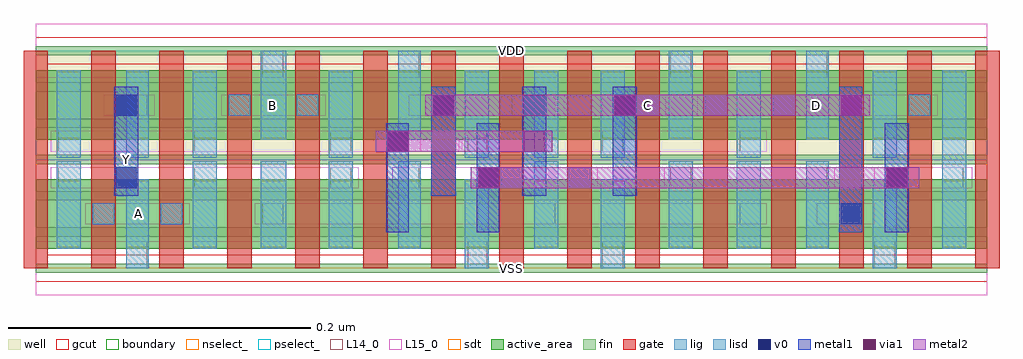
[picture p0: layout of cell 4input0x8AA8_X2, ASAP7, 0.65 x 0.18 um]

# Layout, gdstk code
import gdstk
lib = gdstk.Library(unit=1e-6, precision=1e-09)
def R(c, l, rs):  # rectangles x0, y0, x1, y1
    for r in rs: c.add(gdstk.rectangle(r[:2], r[2:], *l))
def A(c, l, x, y, w, h, nx, ny, dx, dy):  # array of equal rectangles
    R(c, l, [(x+i*dx, y+j*dy, x+i*dx+w, y+j*dy+h) for i in range(nx) for j in range(ny)])
def P(c, l, *ps):  # polygons
    for p in ps: c.add(gdstk.Polygon(p, *l))
well = (1, 0)
fin = (2, 0)
gate = (7, 0)
gcut = (10, 0)
active_area = (11, 0)
nselect_ = (12, 0)
pselect_ = (13, 0)
L14_0 = (14, 0)
L15_0 = (15, 0)
lig = (16, 0)
lisd = (17, 0)
v0 = (18, 0)
metal1 = (19, 0)
metal2 = (20, 0)
via1 = (21, 0)
sdt = (88, 0)
boundary = (100, 0)

c_4input0x8aa8_x2 = lib.new_cell('4input0x8AA8_X2')
R(c_4input0x8aa8_x2, well, [(0,0.072,0.63,0.144)])
A(c_4input0x8aa8_x2, fin, 0, -0.003, 0.63, 0.006, 1, 7, 0, 0.024)
A(c_4input0x8aa8_x2, gate, -0.008, 0, 0.016, 0.144, 15, 1, 0.045, 0)
P(c_4input0x8aa8_x2, gcut, [(0,-0.009),(0,0),(-0.008,0),(-0.008,0.135),(0.008,0.135),(0.008,0.009),(0.217,0.009),(0.217,0.135),(0.233,0.135),(0.233,0.009),(0.622,0.009),(0.622,0.135),(-0.008,0.135),(-0.008,0.144),(0,0.144),(0,0.153),(0.63,0.153),(0.63,0.144),(0.638,0.144),(0.638,0),(0.63,0),(0.63,-0.009)])
R(c_4input0x8aa8_x2, active_area, [(0,0.013,0.63,0.059), (0,0.085,0.63,0.131)])
R(c_4input0x8aa8_x2, nselect_, [(0,0,0.63,0.072)])
R(c_4input0x8aa8_x2, pselect_, [(0,0.072,0.63,0.144)])
A(c_4input0x8aa8_x2, L14_0, 0.42, 0.053, 0.014, 0.014, 3, 1, 0.09, 0)
A(c_4input0x8aa8_x2, L14_0, 0.398, 0.101, 0.014, 0.014, 3, 1, 0.045, 0)
R(c_4input0x8aa8_x2, L14_0, [(0.06,0,0.074,0.018), (0.286,0,0.299,0.018), (0.375,0,0.389,0.018), (0.555,0,0.569,0.018), (0.038,0.029,0.052,0.043), (0.083,0.029,0.097,0.043), (0.15,0.029,0.164,0.043), (0.33,0.029,0.344,0.043), (0.466,0.029,0.48,0.043), (0.533,0.029,0.547,0.043), (0.015,0.053,0.03,0.067), (0.105,0.053,0.12,0.067), (0.195,0.053,0.209,0.067), (0.24,0.053,0.254,0.067), (0.308,0.053,0.322,0.067), (0.353,0.053,0.367,0.067), (0.015,0.077,0.03,0.091), (0.105,0.077,0.12,0.091), (0.195,0.077,0.209,0.091), (0.286,0.077,0.299,0.091), (0.375,0.077,0.389,0.091), (0.466,0.077,0.48,0.091), (0.06,0.101,0.074,0.115), (0.128,0.101,0.142,0.115), (0.173,0.101,0.187,0.115), (0.263,0.101,0.277,0.115), (0.33,0.101,0.344,0.115), (0.578,0.101,0.592,0.115), (0.15,0.126,0.164,0.144), (0.24,0.126,0.254,0.144), (0.42,0.126,0.434,0.144), (0.51,0.126,0.524,0.144)])
R(c_4input0x8aa8_x2, L15_0, [(0,-0.018,0.63,0.018), (0.033,0.029,0.102,0.043), (0.145,0.029,0.484,0.043), (0.517,0.029,0.555,0.043), (0.01,0.053,0.214,0.067), (0.236,0.053,0.372,0.067), (0.416,0.053,0.529,0.067), (0.555,0.053,0.62,0.067), (0.01,0.077,0.255,0.091), (0.28,0.077,0.484,0.091), (0.045,0.101,0.079,0.115), (0.123,0.101,0.192,0.115), (0.247,0.101,0.285,0.115), (0.315,0.101,0.35,0.115), (0.375,0.101,0.417,0.115), (0.438,0.101,0.597,0.115), (0,0.126,0.63,0.162)])
A(c_4input0x8aa8_x2, lig, 0.398, 0.101, 0.014, 0.014, 3, 1, 0.045, 0)
R(c_4input0x8aa8_x2, lig, [(0.038,0.029,0.052,0.043), (0.083,0.029,0.097,0.043), (0.533,0.029,0.547,0.043), (0.308,0.053,0.322,0.067), (0.353,0.053,0.367,0.067), (0.128,0.101,0.142,0.115), (0.173,0.101,0.187,0.115), (0.263,0.101,0.277,0.115), (0.578,0.101,0.592,0.115)])
A(c_4input0x8aa8_x2, lisd, 0.014, 0.013, 0.016, 0.058, 3, 1, 0.09, 0)
A(c_4input0x8aa8_x2, lisd, 0.014, 0.073, 0.016, 0.058, 4, 1, 0.09, 0)
A(c_4input0x8aa8_x2, lisd, 0.374, 0.073, 0.016, 0.058, 3, 1, 0.09, 0)
R(c_4input0x8aa8_x2, lisd, [(0.06,0,0.075,0.059), (0.284,0,0.3,0.059), (0.374,0,0.39,0.059), (0.554,0,0.57,0.059), (0.149,0.013,0.166,0.071), (0.24,0.013,0.255,0.071), (0.33,0.013,0.346,0.071), (0.419,0.013,0.435,0.071), (0.464,0.013,0.48,0.071), (0.51,0.013,0.525,0.071), (0.6,0.013,0.616,0.131), (0.06,0.073,0.075,0.131), (0.33,0.073,0.346,0.131), (0.149,0.085,0.166,0.144), (0.24,0.085,0.255,0.144), (0.419,0.085,0.435,0.144), (0.51,0.085,0.525,0.144)])
A(c_4input0x8aa8_x2, v0, 0.263, 0.101, 0.014, 0.014, 3, 1, 0.06, 0)
R(c_4input0x8aa8_x2, v0, [(0.533,0.029,0.547,0.043), (0.053,0.053,0.067,0.067), (0.293,0.053,0.307,0.067), (0.563,0.053,0.577,0.067), (0.233,0.077,0.247,0.091), (0.053,0.101,0.067,0.115)])
A(c_4input0x8aa8_x2, metal1, 0.262, 0.048, 0.016, 0.072, 3, 1, 0.06, 0)
R(c_4input0x8aa8_x2, metal1, [(0.232,0.024,0.247,0.096), (0.292,0.024,0.307,0.096), (0.532,0.024,0.547,0.12), (0.562,0.024,0.578,0.096), (0.052,0.048,0.068,0.12)])
R(c_4input0x8aa8_x2, metal2, [(0.288,0.053,0.585,0.067), (0.225,0.077,0.342,0.091), (0.258,0.101,0.552,0.115)])
R(c_4input0x8aa8_x2, via1, [(0.293,0.053,0.307,0.067), (0.563,0.053,0.577,0.067), (0.233,0.077,0.247,0.091), (0.323,0.077,0.337,0.091), (0.263,0.101,0.277,0.115), (0.383,0.101,0.397,0.115), (0.533,0.101,0.547,0.115)])
A(c_4input0x8aa8_x2, sdt, 0.014, 0.014, 0.016, 0.044, 4, 2, 0.09, 0.072)
A(c_4input0x8aa8_x2, sdt, 0.374, 0.014, 0.016, 0.044, 3, 2, 0.045, 0.072)
R(c_4input0x8aa8_x2, sdt, [(0.06,0.014,0.075,0.058), (0.149,0.014,0.166,0.058), (0.24,0.014,0.255,0.058), (0.33,0.014,0.346,0.058), (0.51,0.014,0.525,0.058), (0.554,0.014,0.57,0.058), (0.6,0.014,0.616,0.058), (0.06,0.086,0.075,0.13), (0.149,0.086,0.166,0.13), (0.24,0.086,0.255,0.13), (0.33,0.086,0.346,0.13), (0.51,0.086,0.525,0.13), (0.554,0.086,0.57,0.13), (0.6,0.086,0.616,0.13)])
R(c_4input0x8aa8_x2, boundary, [(0,0,0.63,0.144)])
c_4input0x8aa8_x2.add(gdstk.Label('VSS', (0.315,0), layer=15, texttype=251))
c_4input0x8aa8_x2.add(gdstk.Label('VDD', (0.315,0.144), layer=15, texttype=251))
c_4input0x8aa8_x2.add(gdstk.Label('VSS', (0.315,0), layer=15, texttype=251))
c_4input0x8aa8_x2.add(gdstk.Label('VDD', (0.315,0.144), layer=15, texttype=251))
c_4input0x8aa8_x2.add(gdstk.Label('A', (0.068,0.036), layer=15, texttype=251))
c_4input0x8aa8_x2.add(gdstk.Label('VSS', (0.315,0), layer=15, texttype=251))
c_4input0x8aa8_x2.add(gdstk.Label('VDD', (0.315,0.144), layer=15, texttype=251))
c_4input0x8aa8_x2.add(gdstk.Label('D', (0.517,0.108), layer=15, texttype=251))
c_4input0x8aa8_x2.add(gdstk.Label('VSS', (0.315,0), layer=15, texttype=251))
c_4input0x8aa8_x2.add(gdstk.Label('VDD', (0.315,0.144), layer=15, texttype=251))
c_4input0x8aa8_x2.add(gdstk.Label('B', (0.157,0.108), layer=15, texttype=251))
c_4input0x8aa8_x2.add(gdstk.Label('VSS', (0.315,0), layer=15, texttype=251))
c_4input0x8aa8_x2.add(gdstk.Label('VDD', (0.315,0.144), layer=15, texttype=251))
c_4input0x8aa8_x2.add(gdstk.Label('C', (0.405,0.108), layer=20, texttype=251))
c_4input0x8aa8_x2.add(gdstk.Label('VSS', (0.315,0), layer=3, texttype=251))
c_4input0x8aa8_x2.add(gdstk.Label('VSS', (0.315,0), layer=3, texttype=251))
c_4input0x8aa8_x2.add(gdstk.Label('VSS', (0.315,0), layer=3, texttype=251))
c_4input0x8aa8_x2.add(gdstk.Label('VSS', (0.315,0), layer=3, texttype=251))
c_4input0x8aa8_x2.add(gdstk.Label('VSS', (0.315,0), layer=3, texttype=251))
c_4input0x8aa8_x2.add(gdstk.Label('VDD', (0.315,0.144), layer=1, texttype=251))
c_4input0x8aa8_x2.add(gdstk.Label('VDD', (0.315,0.144), layer=1, texttype=251))
c_4input0x8aa8_x2.add(gdstk.Label('VDD', (0.315,0.144), layer=1, texttype=251))
c_4input0x8aa8_x2.add(gdstk.Label('VDD', (0.315,0.144), layer=1, texttype=251))
c_4input0x8aa8_x2.add(gdstk.Label('VDD', (0.315,0.144), layer=1, texttype=251))
c_4input0x8aa8_x2.add(gdstk.Label('Y', (0.06,0.072), layer=19, texttype=251))

lib.write_gds('4input0x8AA8_X2.gds')
